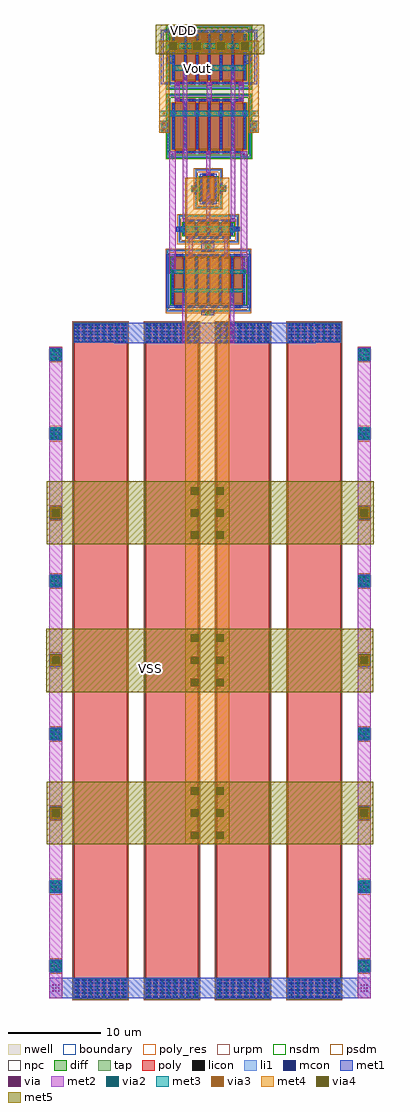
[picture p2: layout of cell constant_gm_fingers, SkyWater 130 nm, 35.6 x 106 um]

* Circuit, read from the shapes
.subckt constant_gm_fingers VDD VSS Vout
XM1 n1 Vout n2 VSS sky130_fd_pr__nfet_01v8 w=5 l=1 m=6
XM2 Vout Vout VSS VSS sky130_fd_pr__nfet_01v8 w=1.25 l=1 m=4
XM3 Vout n2 n2 VSS sky130_fd_pr__nfet_01v8 w=2.5 l=0.5 m=2
XM4 n2 n2 VDD VDD sky130_fd_pr__pfet_01v8 w=5 l=1 m=6
XM5 Vout n2 VDD VDD sky130_fd_pr__pfet_01v8 w=5 l=1 m=6
XR6 n1 VSS VSS sky130_fd_pr__res_xhigh_po w=5.73 l=69.04 m=4
.ends

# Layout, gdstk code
import gdstk
lib = gdstk.Library(unit=1e-6, precision=1e-09)
def R(c, l, rs):  # rectangles x0, y0, x1, y1
    for r in rs: c.add(gdstk.rectangle(r[:2], r[2:], *l))
def A(c, l, x, y, w, h, nx, ny, dx, dy):  # array of equal rectangles
    R(c, l, [(x+i*dx, y+j*dy, x+i*dx+w, y+j*dy+h) for i in range(nx) for j in range(ny)])
nwell = (64, 20)
diff = (65, 20)
tap = (65, 44)
poly_res = (66, 13)
poly = (66, 20)
licon = (66, 44)
li1 = (67, 20)
mcon = (67, 44)
met1 = (68, 20)
via = (68, 44)
met2 = (69, 20)
via2 = (69, 44)
met3 = (70, 20)
via3 = (70, 44)
met4 = (71, 20)
via4 = (71, 44)
met5 = (72, 20)
urpm = (79, 20)
nsdm = (93, 44)
psdm = (94, 20)
npc = (95, 20)
boundary = (235, 4)

sky130_fd_pr__res_xhigh_ = lib.new_cell('sky130_fd_pr__res_xhigh_po_5p73_B5N4SD')
R(sky130_fd_pr__res_xhigh_, poly_res, [(-2.865,-34.58,2.865,34.58)])
R(sky130_fd_pr__res_xhigh_, poly, [(-2.865,-36.66,2.865,36.66)])
A(sky130_fd_pr__res_xhigh_, licon, -2.58, -36.58, 0.19, 2, 8, 2, 0.71, 71.16)
R(sky130_fd_pr__res_xhigh_, li1, [(-2.865,-36.66,2.865,-34.5), (-2.865,34.5,2.865,36.66)])
A(sky130_fd_pr__res_xhigh_, mcon, -2.785, -36.565, 0.17, 0.17, 16, 6, 0.36, 0.36)
A(sky130_fd_pr__res_xhigh_, mcon, -2.785, 34.59, 0.17, 0.17, 16, 6, 0.36, 0.36)
R(sky130_fd_pr__res_xhigh_, met1, [(-2.845,-36.6,2.845,-34.555), (-2.845,34.555,2.845,36.6)])
R(sky130_fd_pr__res_xhigh_, urpm, [(-3.065,-36.86,3.065,36.86)])
R(sky130_fd_pr__res_xhigh_, psdm, [(-2.975,-36.77,2.975,36.77)])
R(sky130_fd_pr__res_xhigh_, npc, [(-2.96,-36.755,2.96,36.755)])

sky130_fd_pr__pfet_01v8_ = lib.new_cell('sky130_fd_pr__pfet_01v8_LK874N')
R(sky130_fd_pr__pfet_01v8_, nwell, [(-4.705,-3.595,4.705,3.595)])
R(sky130_fd_pr__pfet_01v8_, diff, [(-4.015,-2.5,4.015,2.5)])
R(sky130_fd_pr__pfet_01v8_, tap, [(-4.525,-3.415,4.525,-3.245), (-4.525,-3.245,-4.355,3.245), (4.355,-3.245,4.525,3.245), (-4.525,3.245,4.525,3.415)])
A(sky130_fd_pr__pfet_01v8_, poly, -3.725, -2.985, 1, 5.97, 6, 1, 1.29, 0)
A(sky130_fd_pr__pfet_01v8_, licon, -3.995, -3.415, 0.17, 0.17, 24, 2, 0.34, 6.66)
A(sky130_fd_pr__pfet_01v8_, licon, -4.525, -2.805, 0.17, 0.17, 1, 17, 0, 0.34)
A(sky130_fd_pr__pfet_01v8_, licon, 4.355, -2.805, 0.17, 0.17, 1, 17, 0, 0.34)
A(sky130_fd_pr__pfet_01v8_, licon, -3.955, -2.295, 0.17, 0.17, 7, 14, 1.29, 0.34)
R(sky130_fd_pr__pfet_01v8_, licon, [(-3.48,-2.905,-3.31,-2.735), (-3.14,-2.905,-2.97,-2.735), (-2.19,-2.905,-2.02,-2.735), (-1.85,-2.905,-1.68,-2.735), (-0.9,-2.905,-0.73,-2.735), (-0.56,-2.905,-0.39,-2.735), (0.39,-2.905,0.56,-2.735), (0.73,-2.905,0.9,-2.735), (1.68,-2.905,1.85,-2.735), (2.02,-2.905,2.19,-2.735), (2.97,-2.905,3.14,-2.735), (3.31,-2.905,3.48,-2.735), (-3.48,2.735,-3.31,2.905), (-3.14,2.735,-2.97,2.905), (-2.19,2.735,-2.02,2.905), (-1.85,2.735,-1.68,2.905), (-0.9,2.735,-0.73,2.905), (-0.56,2.735,-0.39,2.905), (0.39,2.735,0.56,2.905), (0.73,2.735,0.9,2.905), (1.68,2.735,1.85,2.905), (2.02,2.735,2.19,2.905), (2.97,2.735,3.14,2.905), (3.31,2.735,3.48,2.905)])
A(sky130_fd_pr__pfet_01v8_, li1, -3.725, -2.905, 1, 0.17, 6, 2, 1.29, 5.64)
A(sky130_fd_pr__pfet_01v8_, li1, -3.955, -2.52, 0.17, 5.04, 7, 1, 1.29, 0)
R(sky130_fd_pr__pfet_01v8_, li1, [(-4.525,-3.415,4.525,-3.245), (-4.525,-3.245,-4.355,3.245), (4.355,-3.245,4.525,3.245), (-4.525,3.245,4.525,3.415)])
A(sky130_fd_pr__pfet_01v8_, mcon, -3.955, -2.425, 0.17, 0.17, 7, 14, 1.29, 0.36)
R(sky130_fd_pr__pfet_01v8_, mcon, [(-3.49,-2.905,-3.32,-2.735), (-3.13,-2.905,-2.96,-2.735), (-2.2,-2.905,-2.03,-2.735), (-1.84,-2.905,-1.67,-2.735), (-0.91,-2.905,-0.74,-2.735), (-0.55,-2.905,-0.38,-2.735), (0.38,-2.905,0.55,-2.735), (0.74,-2.905,0.91,-2.735), (1.67,-2.905,1.84,-2.735), (2.03,-2.905,2.2,-2.735), (2.96,-2.905,3.13,-2.735), (3.32,-2.905,3.49,-2.735), (-3.49,2.735,-3.32,2.905), (-3.13,2.735,-2.96,2.905), (-2.2,2.735,-2.03,2.905), (-1.84,2.735,-1.67,2.905), (-0.91,2.735,-0.74,2.905), (-0.55,2.735,-0.38,2.905), (0.38,2.735,0.55,2.905), (0.74,2.735,0.91,2.905), (1.67,2.735,1.84,2.905), (2.03,2.735,2.2,2.905), (2.96,2.735,3.13,2.905), (3.32,2.735,3.49,2.905)])
A(sky130_fd_pr__pfet_01v8_, met1, -3.705, -2.935, 0.96, 0.23, 6, 2, 1.29, 5.64)
A(sky130_fd_pr__pfet_01v8_, met1, -3.985, -2.5, 0.23, 5, 7, 1, 1.29, 0)
R(sky130_fd_pr__pfet_01v8_, nsdm, [(-4.65,-3.54,4.65,-3.12), (-4.65,-3.12,-4.23,3.12), (4.23,-3.12,4.65,3.12), (-4.65,3.12,4.65,3.54)])
R(sky130_fd_pr__pfet_01v8_, psdm, [(-4.14,-2.625,4.14,2.625)])
A(sky130_fd_pr__pfet_01v8_, npc, -3.58, -3.005, 0.71, 0.37, 6, 2, 1.29, 5.64)
R(sky130_fd_pr__pfet_01v8_, boundary, [(-4.44,-3.33,4.44,3.33)])

sky130_fd_pr__nfet_01v8_ = lib.new_cell('sky130_fd_pr__nfet_01v8_H7FLKU')
R(sky130_fd_pr__nfet_01v8_, diff, [(-0.935,-1.25,0.935,1.25)])
R(sky130_fd_pr__nfet_01v8_, tap, [(-1.445,-2.12,1.445,-1.95), (-1.445,-1.95,-1.275,1.95), (1.275,-1.95,1.445,1.95), (-1.445,1.95,1.445,2.12)])
R(sky130_fd_pr__nfet_01v8_, poly, [(-0.645,-1.69,-0.145,1.69), (0.145,-1.69,0.645,1.69)])
A(sky130_fd_pr__nfet_01v8_, licon, -0.935, -2.12, 0.17, 0.17, 6, 2, 0.34, 4.07)
A(sky130_fd_pr__nfet_01v8_, licon, -1.445, -1.615, 0.17, 0.17, 1, 10, 0, 0.34)
A(sky130_fd_pr__nfet_01v8_, licon, 1.275, -1.615, 0.17, 0.17, 1, 10, 0, 0.34)
A(sky130_fd_pr__nfet_01v8_, licon, -0.875, -1.105, 0.17, 0.17, 3, 7, 0.79, 0.34)
R(sky130_fd_pr__nfet_01v8_, licon, [(-0.48,-1.61,-0.31,-1.44), (0.31,-1.61,0.48,-1.44), (-0.48,1.44,-0.31,1.61), (0.31,1.44,0.48,1.61)])
A(sky130_fd_pr__nfet_01v8_, li1, -0.875, -1.27, 0.17, 2.54, 3, 1, 0.79, 0)
R(sky130_fd_pr__nfet_01v8_, li1, [(-1.445,-2.12,1.445,-1.95), (-1.445,-1.95,-1.275,1.95), (1.275,-1.95,1.445,1.95), (-0.645,-1.61,-0.145,-1.44), (0.145,-1.61,0.645,-1.44), (-0.645,1.44,-0.145,1.61), (0.145,1.44,0.645,1.61), (-1.445,1.95,1.445,2.12)])
A(sky130_fd_pr__nfet_01v8_, mcon, -0.875, -1.165, 0.17, 0.17, 3, 7, 0.79, 0.36)
R(sky130_fd_pr__nfet_01v8_, mcon, [(-0.48,-1.61,-0.31,-1.44), (0.31,-1.61,0.48,-1.44), (-0.48,1.44,-0.31,1.61), (0.31,1.44,0.48,1.61)])
A(sky130_fd_pr__nfet_01v8_, met1, -0.905, -1.25, 0.23, 2.5, 3, 1, 0.79, 0)
R(sky130_fd_pr__nfet_01v8_, met1, [(-0.625,-1.64,-0.165,-1.41), (0.165,-1.64,0.625,-1.41), (-0.625,1.41,-0.165,1.64), (0.165,1.41,0.625,1.64)])
R(sky130_fd_pr__nfet_01v8_, nsdm, [(-1.06,-1.375,1.06,1.375)])
R(sky130_fd_pr__nfet_01v8_, psdm, [(-1.57,-2.245,1.57,-1.825), (-1.57,-1.825,-1.15,1.825), (1.15,-1.825,1.57,1.825), (-1.57,1.825,1.57,2.245)])
R(sky130_fd_pr__nfet_01v8_, npc, [(-0.58,-1.71,-0.21,-1.34), (0.21,-1.71,0.58,-1.34), (-0.58,1.34,-0.21,1.71), (0.21,1.34,0.58,1.71)])
R(sky130_fd_pr__nfet_01v8_, boundary, [(-1.36,-2.035,1.36,2.035)])

c_sky130_fd_pr__nfet_01v8_ = lib.new_cell('sky130_fd_pr__nfet_01v8_GLZPWL')
R(c_sky130_fd_pr__nfet_01v8_, diff, [(-4.015,-2.5,4.015,2.5)])
R(c_sky130_fd_pr__nfet_01v8_, tap, [(-4.525,-3.37,4.525,-3.2), (-4.525,-3.2,-4.355,3.2), (4.355,-3.2,4.525,3.2), (-4.525,3.2,4.525,3.37)])
A(c_sky130_fd_pr__nfet_01v8_, poly, -3.725, -2.94, 1, 5.88, 6, 1, 1.29, 0)
A(c_sky130_fd_pr__nfet_01v8_, licon, -3.995, -3.37, 0.17, 0.17, 24, 2, 0.34, 6.57)
A(c_sky130_fd_pr__nfet_01v8_, licon, -4.525, -2.805, 0.17, 0.17, 1, 17, 0, 0.34)
A(c_sky130_fd_pr__nfet_01v8_, licon, 4.355, -2.805, 0.17, 0.17, 1, 17, 0, 0.34)
A(c_sky130_fd_pr__nfet_01v8_, licon, -3.955, -2.295, 0.17, 0.17, 7, 14, 1.29, 0.34)
R(c_sky130_fd_pr__nfet_01v8_, licon, [(-3.48,-2.86,-3.31,-2.69), (-3.14,-2.86,-2.97,-2.69), (-2.19,-2.86,-2.02,-2.69), (-1.85,-2.86,-1.68,-2.69), (-0.9,-2.86,-0.73,-2.69), (-0.56,-2.86,-0.39,-2.69), (0.39,-2.86,0.56,-2.69), (0.73,-2.86,0.9,-2.69), (1.68,-2.86,1.85,-2.69), (2.02,-2.86,2.19,-2.69), (2.97,-2.86,3.14,-2.69), (3.31,-2.86,3.48,-2.69), (-3.48,2.69,-3.31,2.86), (-3.14,2.69,-2.97,2.86), (-2.19,2.69,-2.02,2.86), (-1.85,2.69,-1.68,2.86), (-0.9,2.69,-0.73,2.86), (-0.56,2.69,-0.39,2.86), (0.39,2.69,0.56,2.86), (0.73,2.69,0.9,2.86), (1.68,2.69,1.85,2.86), (2.02,2.69,2.19,2.86), (2.97,2.69,3.14,2.86), (3.31,2.69,3.48,2.86)])
A(c_sky130_fd_pr__nfet_01v8_, li1, -3.725, -2.86, 1, 0.17, 6, 2, 1.29, 5.55)
A(c_sky130_fd_pr__nfet_01v8_, li1, -3.955, -2.52, 0.17, 5.04, 7, 1, 1.29, 0)
R(c_sky130_fd_pr__nfet_01v8_, li1, [(-4.525,-3.37,4.525,-3.2), (-4.525,-3.2,-4.355,3.2), (4.355,-3.2,4.525,3.2), (-4.525,3.2,4.525,3.37)])
A(c_sky130_fd_pr__nfet_01v8_, mcon, -3.955, -2.425, 0.17, 0.17, 7, 14, 1.29, 0.36)
R(c_sky130_fd_pr__nfet_01v8_, mcon, [(-3.49,-2.86,-3.32,-2.69), (-3.13,-2.86,-2.96,-2.69), (-2.2,-2.86,-2.03,-2.69), (-1.84,-2.86,-1.67,-2.69), (-0.91,-2.86,-0.74,-2.69), (-0.55,-2.86,-0.38,-2.69), (0.38,-2.86,0.55,-2.69), (0.74,-2.86,0.91,-2.69), (1.67,-2.86,1.84,-2.69), (2.03,-2.86,2.2,-2.69), (2.96,-2.86,3.13,-2.69), (3.32,-2.86,3.49,-2.69), (-3.49,2.69,-3.32,2.86), (-3.13,2.69,-2.96,2.86), (-2.2,2.69,-2.03,2.86), (-1.84,2.69,-1.67,2.86), (-0.91,2.69,-0.74,2.86), (-0.55,2.69,-0.38,2.86), (0.38,2.69,0.55,2.86), (0.74,2.69,0.91,2.86), (1.67,2.69,1.84,2.86), (2.03,2.69,2.2,2.86), (2.96,2.69,3.13,2.86), (3.32,2.69,3.49,2.86)])
A(c_sky130_fd_pr__nfet_01v8_, met1, -3.705, -2.89, 0.96, 0.23, 6, 2, 1.29, 5.55)
A(c_sky130_fd_pr__nfet_01v8_, met1, -3.985, -2.5, 0.23, 5, 7, 1, 1.29, 0)
R(c_sky130_fd_pr__nfet_01v8_, nsdm, [(-4.14,-2.625,4.14,2.625)])
R(c_sky130_fd_pr__nfet_01v8_, psdm, [(-4.65,-3.495,4.65,-3.075), (-4.65,-3.075,-4.23,3.075), (4.23,-3.075,4.65,3.075), (-4.65,3.075,4.65,3.495)])
A(c_sky130_fd_pr__nfet_01v8_, npc, -3.58, -2.96, 0.71, 0.37, 6, 2, 1.29, 5.55)
R(c_sky130_fd_pr__nfet_01v8_, boundary, [(-4.44,-3.285,4.44,3.285)])

c_sky130_fd_pr__nfet_01v8__ = lib.new_cell('sky130_fd_pr__nfet_01v8_A5635U')
R(c_sky130_fd_pr__nfet_01v8__, diff, [(-2.725,-0.625,2.725,0.625)])
R(c_sky130_fd_pr__nfet_01v8__, tap, [(-3.235,-1.495,3.235,-1.325), (-3.235,-1.325,-3.065,1.325), (3.065,-1.325,3.235,1.325), (-3.235,1.325,3.235,1.495)])
A(c_sky130_fd_pr__nfet_01v8__, poly, -2.435, -1.065, 1, 2.13, 4, 1, 1.29, 0)
A(c_sky130_fd_pr__nfet_01v8__, licon, -2.635, -1.495, 0.17, 0.17, 16, 2, 0.34, 2.82)
A(c_sky130_fd_pr__nfet_01v8__, licon, -3.235, -0.935, 0.17, 0.17, 1, 6, 0, 0.34)
A(c_sky130_fd_pr__nfet_01v8__, licon, 3.065, -0.935, 0.17, 0.17, 1, 6, 0, 0.34)
A(c_sky130_fd_pr__nfet_01v8__, licon, -2.665, -0.425, 0.17, 0.17, 5, 3, 1.29, 0.34)
R(c_sky130_fd_pr__nfet_01v8__, licon, [(-2.19,-0.985,-2.02,-0.815), (-1.85,-0.985,-1.68,-0.815), (-0.9,-0.985,-0.73,-0.815), (-0.56,-0.985,-0.39,-0.815), (0.39,-0.985,0.56,-0.815), (0.73,-0.985,0.9,-0.815), (1.68,-0.985,1.85,-0.815), (2.02,-0.985,2.19,-0.815), (-2.19,0.815,-2.02,0.985), (-1.85,0.815,-1.68,0.985), (-0.9,0.815,-0.73,0.985), (-0.56,0.815,-0.39,0.985), (0.39,0.815,0.56,0.985), (0.73,0.815,0.9,0.985), (1.68,0.815,1.85,0.985), (2.02,0.815,2.19,0.985)])
A(c_sky130_fd_pr__nfet_01v8__, li1, -2.435, -0.985, 1, 0.17, 4, 2, 1.29, 1.8)
A(c_sky130_fd_pr__nfet_01v8__, li1, -2.665, -0.645, 0.17, 1.29, 5, 1, 1.29, 0)
R(c_sky130_fd_pr__nfet_01v8__, li1, [(-3.235,-1.495,3.235,-1.325), (-3.235,-1.325,-3.065,1.325), (3.065,-1.325,3.235,1.325), (-3.235,1.325,3.235,1.495)])
A(c_sky130_fd_pr__nfet_01v8__, mcon, -2.665, -0.445, 0.17, 0.17, 5, 3, 1.29, 0.36)
R(c_sky130_fd_pr__nfet_01v8__, mcon, [(-2.2,-0.985,-2.03,-0.815), (-1.84,-0.985,-1.67,-0.815), (-0.91,-0.985,-0.74,-0.815), (-0.55,-0.985,-0.38,-0.815), (0.38,-0.985,0.55,-0.815), (0.74,-0.985,0.91,-0.815), (1.67,-0.985,1.84,-0.815), (2.03,-0.985,2.2,-0.815), (-2.2,0.815,-2.03,0.985), (-1.84,0.815,-1.67,0.985), (-0.91,0.815,-0.74,0.985), (-0.55,0.815,-0.38,0.985), (0.38,0.815,0.55,0.985), (0.74,0.815,0.91,0.985), (1.67,0.815,1.84,0.985), (2.03,0.815,2.2,0.985)])
A(c_sky130_fd_pr__nfet_01v8__, met1, -2.415, -1.015, 0.96, 0.23, 4, 2, 1.29, 1.8)
A(c_sky130_fd_pr__nfet_01v8__, met1, -2.695, -0.625, 0.23, 1.25, 5, 1, 1.29, 0)
R(c_sky130_fd_pr__nfet_01v8__, nsdm, [(-2.85,-0.75,2.85,0.75)])
R(c_sky130_fd_pr__nfet_01v8__, psdm, [(-3.36,-1.62,3.36,-1.2), (-3.36,-1.2,-2.94,1.2), (2.94,-1.2,3.36,1.2), (-3.36,1.2,3.36,1.62)])
A(c_sky130_fd_pr__nfet_01v8__, npc, -2.29, -1.085, 0.71, 0.37, 4, 2, 1.29, 1.8)
R(c_sky130_fd_pr__nfet_01v8__, boundary, [(-3.15,-1.41,3.15,1.41)])

constant_gm_fingers = lib.new_cell('constant_gm_fingers')
R(constant_gm_fingers, nwell, [(-0.5,-9,8.95,5.7)])
A(constant_gm_fingers, tap, -13.05, -48.12, 1.2, 1.44, 1, 3, 0, 8.6)
A(constant_gm_fingers, tap, 20.45, -48.12, 1.2, 1.44, 1, 3, 0, 8.6)
R(constant_gm_fingers, tap, [(-13.05,-97.32,-11.85,-95.88), (20.45,-97.32,21.65,-95.88), (-13.05,-88.72,-11.85,-87.28), (20.45,-88.72,21.65,-87.28), (-13.05,-80.72,-11.85,-79.28), (20.45,-80.72,21.65,-79.28), (-13.05,-72.12,-11.85,-70.68), (20.45,-72.12,21.65,-70.68), (-13.05,-64.12,-11.85,-62.68), (20.45,-64.12,21.65,-62.68), (-13.05,-55.52,-11.85,-54.08), (20.45,-55.52,21.65,-54.08)])
A(constant_gm_fingers, licon, -13.045, -97.195, 0.17, 0.17, 4, 4, 0.34, 0.34)
A(constant_gm_fingers, licon, 20.455, -97.195, 0.17, 0.17, 4, 4, 0.34, 0.34)
A(constant_gm_fingers, licon, -13.045, -88.595, 0.17, 0.17, 4, 4, 0.34, 0.34)
A(constant_gm_fingers, licon, 20.455, -88.595, 0.17, 0.17, 4, 4, 0.34, 0.34)
A(constant_gm_fingers, licon, -13.045, -80.595, 0.17, 0.17, 4, 4, 0.34, 0.34)
A(constant_gm_fingers, licon, 20.455, -80.595, 0.17, 0.17, 4, 4, 0.34, 0.34)
A(constant_gm_fingers, licon, -13.045, -71.995, 0.17, 0.17, 4, 4, 0.34, 0.34)
A(constant_gm_fingers, licon, 20.455, -71.995, 0.17, 0.17, 4, 4, 0.34, 0.34)
A(constant_gm_fingers, licon, -13.045, -63.995, 0.17, 0.17, 4, 4, 0.34, 0.34)
A(constant_gm_fingers, licon, 20.455, -63.995, 0.17, 0.17, 4, 4, 0.34, 0.34)
A(constant_gm_fingers, licon, -13.045, -55.395, 0.17, 0.17, 4, 4, 0.34, 0.34)
A(constant_gm_fingers, licon, 20.455, -55.395, 0.17, 0.17, 4, 4, 0.34, 0.34)
A(constant_gm_fingers, licon, -13.045, -47.995, 0.17, 0.17, 4, 4, 0.34, 0.34)
A(constant_gm_fingers, licon, 20.455, -47.995, 0.17, 0.17, 4, 4, 0.34, 0.34)
A(constant_gm_fingers, licon, -13.045, -39.395, 0.17, 0.17, 4, 4, 0.34, 0.34)
A(constant_gm_fingers, licon, 20.455, -39.395, 0.17, 0.17, 4, 4, 0.34, 0.34)
A(constant_gm_fingers, licon, -13.045, -30.795, 0.17, 0.17, 4, 4, 0.34, 0.34)
A(constant_gm_fingers, licon, 20.455, -30.795, 0.17, 0.17, 4, 4, 0.34, 0.34)
A(constant_gm_fingers, li1, -13.05, -48.08, 1.2, 1.36, 1, 3, 0, 8.6)
A(constant_gm_fingers, li1, 20.45, -48.08, 1.2, 1.36, 1, 3, 0, 8.6)
R(constant_gm_fingers, li1, [(-13.05,-97.28,-11.85,-95.92), (20.45,-97.28,21.65,-95.92), (-13.05,-88.68,-11.85,-87.32), (20.45,-88.68,21.65,-87.32), (-13.05,-80.68,-11.85,-79.32), (20.45,-80.68,21.65,-79.32), (-13.05,-72.08,-11.85,-70.72), (20.45,-72.08,21.65,-70.72), (-13.05,-64.08,-11.85,-62.72), (20.45,-64.08,21.65,-62.72), (-13.05,-55.48,-11.85,-54.12), (20.45,-55.48,21.65,-54.12), (3.45,-25.6,4.65,-25.4), (3.45,-19,4.65,-18.8), (3.45,-18.1,4.65,-17.9), (0.75,-16.8,1.2,-16.35), (7.05,-16.75,7.45,-16.35), (2.65,-12.75,2.85,-11.6), (5.4,-12.75,5.6,-11.6), (-0.35,-6.05,-0.15,-4.9), (8.55,-6.05,8.75,-4.9), (-0.35,1.5,-0.15,2.65), (8.55,1.5,8.75,2.65)])
A(constant_gm_fingers, mcon, -12.895, -97.045, 0.17, 0.17, 3, 3, 0.36, 0.36)
A(constant_gm_fingers, mcon, 20.605, -97.045, 0.17, 0.17, 3, 3, 0.36, 0.36)
A(constant_gm_fingers, mcon, -12.895, -88.445, 0.17, 0.17, 3, 3, 0.36, 0.36)
A(constant_gm_fingers, mcon, 20.605, -88.445, 0.17, 0.17, 3, 3, 0.36, 0.36)
A(constant_gm_fingers, mcon, -12.895, -80.445, 0.17, 0.17, 3, 3, 0.36, 0.36)
A(constant_gm_fingers, mcon, 20.605, -80.445, 0.17, 0.17, 3, 3, 0.36, 0.36)
A(constant_gm_fingers, mcon, -12.895, -71.845, 0.17, 0.17, 3, 3, 0.36, 0.36)
A(constant_gm_fingers, mcon, 20.605, -71.845, 0.17, 0.17, 3, 3, 0.36, 0.36)
A(constant_gm_fingers, mcon, -12.895, -63.845, 0.17, 0.17, 3, 3, 0.36, 0.36)
A(constant_gm_fingers, mcon, 20.605, -63.845, 0.17, 0.17, 3, 3, 0.36, 0.36)
A(constant_gm_fingers, mcon, -12.895, -55.245, 0.17, 0.17, 3, 3, 0.36, 0.36)
A(constant_gm_fingers, mcon, 20.605, -55.245, 0.17, 0.17, 3, 3, 0.36, 0.36)
A(constant_gm_fingers, mcon, -12.895, -47.845, 0.17, 0.17, 3, 3, 0.36, 0.36)
A(constant_gm_fingers, mcon, 20.605, -47.845, 0.17, 0.17, 3, 3, 0.36, 0.36)
A(constant_gm_fingers, mcon, -12.895, -39.245, 0.17, 0.17, 3, 3, 0.36, 0.36)
A(constant_gm_fingers, mcon, 20.605, -39.245, 0.17, 0.17, 3, 3, 0.36, 0.36)
A(constant_gm_fingers, mcon, -12.895, -30.645, 0.17, 0.17, 3, 3, 0.36, 0.36)
A(constant_gm_fingers, mcon, 20.605, -30.645, 0.17, 0.17, 3, 3, 0.36, 0.36)
A(constant_gm_fingers, mcon, 3.605, -25.585, 0.17, 0.17, 3, 2, 0.36, 6.6)
A(constant_gm_fingers, mcon, 3.605, -18.085, 0.17, 0.17, 3, 1, 0.36, 0)
A(constant_gm_fingers, mcon, 2.665, -12.62, 0.17, 0.17, 1, 3, 0, 0.36)
A(constant_gm_fingers, mcon, 5.415, -12.62, 0.17, 0.17, 1, 3, 0, 0.36)
A(constant_gm_fingers, mcon, -0.335, -5.92, 0.17, 0.17, 1, 3, 0, 0.36)
A(constant_gm_fingers, mcon, 8.565, -5.92, 0.17, 0.17, 1, 3, 0, 0.36)
A(constant_gm_fingers, mcon, -0.335, 1.63, 0.17, 0.17, 1, 3, 0, 0.36)
A(constant_gm_fingers, mcon, 8.565, 1.63, 0.17, 0.17, 1, 3, 0, 0.36)
R(constant_gm_fingers, mcon, [(0.89,-16.66,1.06,-16.49), (7.165,-16.635,7.335,-16.465)])
A(constant_gm_fingers, met1, -13.11, -48.03, 1.32, 1.26, 1, 3, 0, 8.6)
A(constant_gm_fingers, met1, 20.39, -48.03, 1.32, 1.26, 1, 3, 0, 8.6)
A(constant_gm_fingers, met1, 2.65, -4.2, 0.5, 0.4, 3, 2, 2.6, 7.3)
A(constant_gm_fingers, met1, 1.35, 0.7, 0.5, 0.4, 3, 1, 2.6, 0)
R(constant_gm_fingers, met1, [(-13.15,-100.1,21.75,-97.9), (-13.11,-97.23,-11.79,-95.97), (20.39,-97.23,21.71,-95.97), (-13.11,-88.63,-11.79,-87.37), (20.39,-88.63,21.71,-87.37), (-13.11,-80.63,-11.79,-79.37), (20.39,-80.63,21.71,-79.37), (-13.11,-72.03,-11.79,-70.77), (20.39,-72.03,21.71,-70.77), (-13.11,-64.03,-11.79,-62.77), (20.39,-64.03,21.71,-62.77), (-13.11,-55.43,-11.79,-54.17), (20.39,-55.43,21.71,-54.17), (-6.1,-28.95,15.75,-26.75), (3.35,-25.95,4.75,-25.35), (-0.45,-25.1,8.7,-24.85), (-0.45,-24.85,-0.15,-19.55), (8.4,-24.85,8.7,-19.55), (1.35,-23.4,1.75,-23.1), (3.95,-23.4,4.35,-23.1), (6.5,-23.4,6.9,-23.1), (0.05,-21.35,0.45,-21.05), (2.65,-21.35,3.05,-21.05), (5.2,-21.35,5.6,-21.05), (7.8,-21.35,8.2,-21.05), (-0.45,-19.55,8.7,-19.3), (2,-19.3,2.4,-19.2), (5.85,-19.3,6.25,-19.2), (3.35,-19.05,4.75,-17.85), (2,-17.7,2.4,-17.6), (5.85,-17.7,6.25,-17.6), (1.65,-17.6,6.55,-17.35), (2.7,-17.35,2.95,-17.15), (5.3,-17.35,5.55,-17.15), (0.65,-16.85,1.8,-16.3), (3.85,-16.8,4.4,-16.35), (6.4,-16.8,7.55,-16.35), (6.6,-16.35,7.55,-16.3), (2.7,-16,2.95,-15.8), (5.3,-15.95,5.55,-15.8), (1.35,-15.8,7.05,-15.55), (1.35,-15.55,1.85,-15.35), (3.9,-15.55,4.35,-15.35), (6.55,-15.55,7.05,-15.35), (3.2,-13.85,5.05,-13.6), (3.2,-13.6,3.45,-13.4), (4.8,-13.6,5.05,-13.4), (3.9,-13.05,4.35,-12.7), (2.62,-12.81,2.88,-12.5), (5.37,-12.81,5.63,-12.45), (2.25,-12.5,2.95,-11.9), (5.35,-12.45,6.05,-11.85), (2.62,-11.9,2.88,-11.54), (5.37,-11.85,5.63,-11.54), (3.2,-11.75,3.45,-10.8), (4.8,-11.75,5.05,-10.8), (3.2,-10.8,5.05,-10.55), (3.9,-10.55,4.35,-10.35), (-0.1,-8.7,0.6,-8.35), (7.65,-8.7,8.35,-8.35), (3.9,-8.5,4.35,-8.35), (-0.1,-8.35,8.35,-8.1), (1.5,-8.1,1.75,-7.3), (4.1,-8.1,4.35,-7.25), (6.65,-8.1,6.9,-7.3), (-0.38,-6.11,-0.12,-6.1), (8.52,-6.11,8.78,-6.1), (-1.2,-6.1,-0.1,-4.8), (8.5,-6.1,9.6,-4.8), (0.1,-4.2,0.6,-3.8), (1.5,-3.5,1.75,-2.7), (4.1,-3.5,4.35,-2.7), (6.65,-3.5,6.9,-2.7), (0.45,-2.7,7.95,-2.45), (0.5,-2.45,0.95,-2.3), (4,-2.45,4.45,-2.3), (7.45,-2.45,7.9,-2.3), (0.5,-1,0.95,-0.85), (4,-1,4.45,-0.85), (7.45,-1,7.9,-0.85), (-1.05,-0.85,9.45,-0.6), (-1.05,-0.6,-0.7,4.8), (9.1,-0.6,9.45,4.8), (-0.4,1.4,0.45,2.75), (7.95,1.4,8.8,2.75), (0.1,3.1,0.6,3.5), (-1.05,4.8,9.45,5.05)])
A(constant_gm_fingers, via, -12.845, -99.395, 0.15, 0.15, 3, 3, 0.32, 0.32)
A(constant_gm_fingers, via, 20.655, -99.395, 0.15, 0.15, 3, 3, 0.32, 0.32)
A(constant_gm_fingers, via, -12.845, -96.995, 0.15, 0.15, 3, 3, 0.32, 0.32)
A(constant_gm_fingers, via, 20.655, -96.995, 0.15, 0.15, 3, 3, 0.32, 0.32)
A(constant_gm_fingers, via, -12.845, -88.395, 0.15, 0.15, 3, 3, 0.32, 0.32)
A(constant_gm_fingers, via, 20.655, -88.395, 0.15, 0.15, 3, 3, 0.32, 0.32)
A(constant_gm_fingers, via, -12.845, -80.395, 0.15, 0.15, 3, 3, 0.32, 0.32)
A(constant_gm_fingers, via, 20.655, -80.395, 0.15, 0.15, 3, 3, 0.32, 0.32)
A(constant_gm_fingers, via, -12.845, -71.795, 0.15, 0.15, 3, 3, 0.32, 0.32)
A(constant_gm_fingers, via, 20.655, -71.795, 0.15, 0.15, 3, 3, 0.32, 0.32)
A(constant_gm_fingers, via, -12.845, -63.795, 0.15, 0.15, 3, 3, 0.32, 0.32)
A(constant_gm_fingers, via, 20.655, -63.795, 0.15, 0.15, 3, 3, 0.32, 0.32)
A(constant_gm_fingers, via, -12.845, -55.195, 0.15, 0.15, 3, 3, 0.32, 0.32)
A(constant_gm_fingers, via, 20.655, -55.195, 0.15, 0.15, 3, 3, 0.32, 0.32)
A(constant_gm_fingers, via, -12.845, -47.795, 0.15, 0.15, 3, 3, 0.32, 0.32)
A(constant_gm_fingers, via, 20.655, -47.795, 0.15, 0.15, 3, 3, 0.32, 0.32)
A(constant_gm_fingers, via, -12.845, -39.195, 0.15, 0.15, 3, 3, 0.32, 0.32)
A(constant_gm_fingers, via, 20.655, -39.195, 0.15, 0.15, 3, 3, 0.32, 0.32)
A(constant_gm_fingers, via, -12.845, -30.595, 0.15, 0.15, 3, 3, 0.32, 0.32)
A(constant_gm_fingers, via, 20.655, -30.595, 0.15, 0.15, 3, 3, 0.32, 0.32)
A(constant_gm_fingers, via, 1.475, -28.775, 0.15, 0.15, 1, 3, 0, 0.85)
A(constant_gm_fingers, via, 6.625, -28.775, 0.15, 0.15, 1, 3, 0, 0.85)
A(constant_gm_fingers, via, 2.825, -4.075, 0.15, 0.15, 3, 2, 2.6, 7.3)
A(constant_gm_fingers, via, 1.525, 0.825, 0.15, 0.15, 3, 1, 2.6, 0)
R(constant_gm_fingers, via, [(4,-25.75,4.15,-25.6), (1.475,-23.325,1.625,-23.175), (4.075,-23.325,4.225,-23.175), (6.625,-23.325,6.775,-23.175), (0.175,-21.275,0.325,-21.125), (2.775,-21.275,2.925,-21.125), (5.325,-21.275,5.475,-21.125), (7.925,-21.275,8.075,-21.125), (2.125,-19.425,2.275,-19.275), (5.975,-19.425,6.125,-19.275), (4,-18.55,4.15,-18.4), (2.125,-17.625,2.275,-17.475), (5.975,-17.625,6.125,-17.475), (1.45,-16.65,1.6,-16.5), (4.05,-16.65,4.2,-16.5), (6.6,-16.65,6.75,-16.5), (1.525,-15.625,1.675,-15.475), (6.725,-15.625,6.875,-15.475), (4.05,-15.6,4.2,-15.45), (4.05,-12.95,4.2,-12.8), (2.365,-12.435,2.515,-12.285), (2.685,-12.435,2.835,-12.285), (5.465,-12.385,5.615,-12.235), (5.785,-12.385,5.935,-12.235), (2.365,-12.115,2.515,-11.965), (2.685,-12.115,2.835,-11.965), (5.465,-12.065,5.615,-11.915), (5.785,-12.065,5.935,-11.915), (4.05,-10.6,4.2,-10.45), (0.175,-8.475,0.325,-8.325), (7.925,-8.475,8.075,-8.325), (4.05,-8.4,4.2,-8.25), (-0.775,-5.875,-0.625,-5.725), (9.025,-5.875,9.175,-5.725), (-0.775,-5.175,-0.625,-5.025), (9.025,-5.175,9.175,-5.025), (0.275,-4.075,0.425,-3.925), (0.65,-2.55,0.8,-2.4), (4.15,-2.55,4.3,-2.4), (7.6,-2.55,7.75,-2.4), (0.65,-0.9,0.8,-0.75), (4.15,-0.9,4.3,-0.75), (7.6,-0.9,7.75,-0.75), (0.275,3.225,0.425,3.375)])
A(constant_gm_fingers, met2, 2.7, -4.25, 0.4, 0.5, 3, 2, 2.6, 7.3)
R(constant_gm_fingers, met2, [(-13.15,-100.1,-11.75,-29.4), (20.35,-100.1,21.75,-29.4), (1.3,-28.95,1.8,-23.05), (6.45,-28.95,6.95,-23.05), (3.85,-25.95,4.3,-25.4), (4,-23.45,4.3,-23.05), (-0.1,-21.4,0.6,-8.1), (2.7,-21.4,3,-21), (5.25,-21.4,5.55,-21), (7.65,-21.4,8.35,-8.1), (2,-19.55,2.4,-17.35), (5.85,-19.55,6.25,-17.35), (3.85,-18.75,4.3,-18.2), (1.3,-16.85,1.75,-16.3), (3.9,-16.85,4.35,-16.3), (6.45,-16.85,6.9,-16.3), (1.35,-15.8,1.85,1.15), (6.55,-15.8,7.05,1.15), (3.95,-15.75,4.3,-15.55), (3.9,-15.55,4.35,-12.65), (2.3,-12.55,2.9,-11.85), (5.4,-12.5,6,-11.8), (3.9,-10.75,4.35,-8.1), (-0.9,-6.05,-0.5,-5.55), (8.9,-6.05,9.3,-5.55), (-0.9,-5.35,-0.5,-4.85), (8.9,-5.35,9.3,-4.85), (0.15,-4.25,0.55,-3.75), (0.45,-2.7,1,-0.6), (3.95,-2.7,4.5,-0.6), (7.4,-2.7,7.95,-0.6), (4,0.65,4.4,1.15), (0.15,3.05,0.55,3.55)])
A(constant_gm_fingers, via2, -12.95, -97.1, 0.2, 0.2, 3, 3, 0.4, 0.4)
A(constant_gm_fingers, via2, 20.55, -97.1, 0.2, 0.2, 3, 3, 0.4, 0.4)
A(constant_gm_fingers, via2, -12.95, -88.5, 0.2, 0.2, 3, 3, 0.4, 0.4)
A(constant_gm_fingers, via2, 20.55, -88.5, 0.2, 0.2, 3, 3, 0.4, 0.4)
A(constant_gm_fingers, via2, -12.95, -80.5, 0.2, 0.2, 3, 3, 0.4, 0.4)
A(constant_gm_fingers, via2, 20.55, -80.5, 0.2, 0.2, 3, 3, 0.4, 0.4)
A(constant_gm_fingers, via2, -12.95, -71.9, 0.2, 0.2, 3, 3, 0.4, 0.4)
A(constant_gm_fingers, via2, 20.55, -71.9, 0.2, 0.2, 3, 3, 0.4, 0.4)
A(constant_gm_fingers, via2, -12.95, -63.9, 0.2, 0.2, 3, 3, 0.4, 0.4)
A(constant_gm_fingers, via2, 20.55, -63.9, 0.2, 0.2, 3, 3, 0.4, 0.4)
A(constant_gm_fingers, via2, -12.95, -55.3, 0.2, 0.2, 3, 3, 0.4, 0.4)
A(constant_gm_fingers, via2, 20.55, -55.3, 0.2, 0.2, 3, 3, 0.4, 0.4)
A(constant_gm_fingers, via2, -12.95, -47.9, 0.2, 0.2, 3, 3, 0.4, 0.4)
A(constant_gm_fingers, via2, 20.55, -47.9, 0.2, 0.2, 3, 3, 0.4, 0.4)
A(constant_gm_fingers, via2, -12.95, -39.3, 0.2, 0.2, 3, 3, 0.4, 0.4)
A(constant_gm_fingers, via2, 20.55, -39.3, 0.2, 0.2, 3, 3, 0.4, 0.4)
A(constant_gm_fingers, via2, -12.95, -30.7, 0.2, 0.2, 3, 3, 0.4, 0.4)
A(constant_gm_fingers, via2, 20.55, -30.7, 0.2, 0.2, 3, 3, 0.4, 0.4)
A(constant_gm_fingers, via2, 2.8, -4.1, 0.2, 0.2, 3, 2, 2.6, 7.3)
A(constant_gm_fingers, via2, 1.5, 0.8, 0.2, 0.2, 3, 1, 2.6, 0)
R(constant_gm_fingers, via2, [(3.975,-25.775,4.175,-25.575), (1.45,-23.35,1.65,-23.15), (4.05,-23.35,4.25,-23.15), (6.6,-23.35,6.8,-23.15), (0.15,-21.3,0.35,-21.1), (2.75,-21.3,2.95,-21.1), (5.3,-21.3,5.5,-21.1), (7.9,-21.3,8.1,-21.1), (3.975,-18.575,4.175,-18.375), (1.425,-16.675,1.625,-16.475), (4.025,-16.675,4.225,-16.475), (6.575,-16.675,6.775,-16.475), (2.5,-12.3,2.7,-12.1), (5.6,-12.25,5.8,-12.05), (-0.8,-5.9,-0.6,-5.7), (9,-5.9,9.2,-5.7), (-0.8,-5.2,-0.6,-5), (9,-5.2,9.2,-5), (0.25,-4.1,0.45,-3.9), (0.25,3.2,0.45,3.4)])
A(constant_gm_fingers, met3, -13.1, -48.025, 1.3, 1.25, 1, 3, 0, 8.6)
A(constant_gm_fingers, met3, 20.4, -48.025, 1.3, 1.25, 1, 3, 0, 8.6)
R(constant_gm_fingers, met3, [(-13.1,-97.225,-11.8,-95.975), (20.4,-97.225,21.7,-95.975), (-13.1,-88.625,-11.8,-87.375), (20.4,-88.625,21.7,-87.375), (-13.1,-80.625,-11.8,-79.375), (20.4,-80.625,21.7,-79.375), (-13.1,-72.025,-11.8,-70.775), (20.4,-72.025,21.7,-70.775), (-13.1,-64.025,-11.8,-62.775), (20.4,-64.025,21.7,-62.775), (-13.1,-55.425,-11.8,-54.175), (20.4,-55.425,21.7,-54.175), (3.8,-25.925,4.35,-25.425), (0.15,-23.45,8.1,-23.05), (0.05,-21.4,8.2,-21), (3.8,-18.725,4.35,-18.225), (1.2,-16.9,7,-16.25), (2.25,-12.525,2.95,-11.875), (5.35,-12.475,6.05,-11.825), (-1,-6.1,-0.4,-4.8), (8.8,-6.1,9.4,-4.8), (-1.2,-4.3,9.6,-3.7), (0.2,0.6,8.2,1.2), (-0.05,3,8.35,3.6)])
A(constant_gm_fingers, via3, -12.95, -80.5, 0.2, 0.2, 3, 3, 0.4, 0.4)
A(constant_gm_fingers, via3, 20.55, -80.5, 0.2, 0.2, 3, 3, 0.4, 0.4)
A(constant_gm_fingers, via3, -12.95, -63.9, 0.2, 0.2, 3, 3, 0.4, 0.4)
A(constant_gm_fingers, via3, 20.55, -63.9, 0.2, 0.2, 3, 3, 0.4, 0.4)
A(constant_gm_fingers, via3, -12.95, -47.9, 0.2, 0.2, 3, 3, 0.4, 0.4)
A(constant_gm_fingers, via3, 20.55, -47.9, 0.2, 0.2, 3, 3, 0.4, 0.4)
A(constant_gm_fingers, via3, 0.2, 3.2, 0.2, 0.2, 4, 1, 2.6, 0)
R(constant_gm_fingers, via3, [(3.975,-25.775,4.175,-25.575), (3.975,-18.575,4.175,-18.375), (4.025,-16.675,4.225,-16.475), (2.5,-12.3,2.7,-12.1), (5.6,-12.25,5.8,-12.05), (-0.8,-5.9,-0.6,-5.7), (9,-5.9,9.2,-5.7), (-0.8,-5.2,-0.6,-5), (9,-5.2,9.2,-5), (-0.8,-4.1,-0.6,-3.9), (9,-4.1,9.2,-3.9)])
R(constant_gm_fingers, met4, [(1.6,-83.4,6.4,-11), (-13.055,-80.605,-11.845,-79.395), (20.445,-80.605,21.655,-79.395), (-13.055,-64.005,-11.845,-62.795), (20.445,-64.005,21.655,-62.795), (-13.055,-48.005,-11.845,-46.795), (20.445,-48.005,21.655,-46.795), (-1.2,-6.1,-0.1,2.7), (8.5,-6.1,9.6,2.7), (-1.2,2.7,0.9,3.9), (2.3,2.7,3.5,3.9), (4.9,2.7,6.1,3.9), (7.5,2.7,9.6,3.9)])
A(constant_gm_fingers, via4, 2.2, -82.8, 0.8, 0.8, 1, 3, 0, 2.4)
A(constant_gm_fingers, via4, 5, -82.8, 0.8, 0.8, 1, 3, 0, 2.4)
A(constant_gm_fingers, via4, 2.2, -66.2, 0.8, 0.8, 1, 3, 0, 2.4)
A(constant_gm_fingers, via4, 5, -66.2, 0.8, 0.8, 1, 3, 0, 2.4)
A(constant_gm_fingers, via4, 2.2, -50.2, 0.8, 0.8, 1, 3, 0, 2.4)
A(constant_gm_fingers, via4, 5, -50.2, 0.8, 0.8, 1, 3, 0, 2.4)
A(constant_gm_fingers, via4, -0.1, 2.9, 0.8, 0.8, 4, 1, 2.6, 0)
R(constant_gm_fingers, via4, [(-12.85,-80.4,-12.05,-79.6), (20.65,-80.4,21.45,-79.6), (-12.85,-63.8,-12.05,-63), (20.65,-63.8,21.45,-63), (-12.85,-47.8,-12.05,-47), (20.65,-47.8,21.45,-47)])
R(constant_gm_fingers, met5, [(-13.45,-83.4,22.05,-76.6), (-13.5,-66.85,22.05,-60), (-13.45,-50.8,22.1,-43.95), (-1.6,2.4,10.2,5.6)])
A(constant_gm_fingers, psdm, -13.175, -48.245, 1.45, 1.69, 1, 3, 0, 8.6)
A(constant_gm_fingers, psdm, 20.325, -48.245, 1.45, 1.69, 1, 3, 0, 8.6)
R(constant_gm_fingers, psdm, [(-13.175,-97.445,-11.725,-95.755), (20.325,-97.445,21.775,-95.755), (-13.175,-88.845,-11.725,-87.155), (20.325,-88.845,21.775,-87.155), (-13.175,-80.845,-11.725,-79.155), (20.325,-80.845,21.775,-79.155), (-13.175,-72.245,-11.725,-70.555), (20.325,-72.245,21.775,-70.555), (-13.175,-64.245,-11.725,-62.555), (20.325,-64.245,21.775,-62.555), (-13.175,-55.645,-11.725,-53.955), (20.325,-55.645,21.775,-53.955)])
constant_gm_fingers.add(gdstk.Reference(sky130_fd_pr__res_xhigh_, (15.625,-63.44)))
constant_gm_fingers.add(gdstk.Reference(sky130_fd_pr__res_xhigh_, (-7.575,-63.44)))
constant_gm_fingers.add(gdstk.Reference(sky130_fd_pr__res_xhigh_, (0.175,-63.44)))
constant_gm_fingers.add(gdstk.Reference(sky130_fd_pr__res_xhigh_, (7.875,-63.44)))
constant_gm_fingers.add(gdstk.Reference(sky130_fd_pr__pfet_01v8_, (4.205,-5.405)))
constant_gm_fingers.add(gdstk.Reference(sky130_fd_pr__pfet_01v8_, (4.205,2.095)))
constant_gm_fingers.add(gdstk.Reference(sky130_fd_pr__nfet_01v8_, (4.125,-12.2)))
constant_gm_fingers.add(gdstk.Reference(c_sky130_fd_pr__nfet_01v8_, (4.13,-22.2)))
constant_gm_fingers.add(gdstk.Reference(c_sky130_fd_pr__nfet_01v8__, (4.115,-16.575)))
constant_gm_fingers.add(gdstk.Label('VSS', (-2.19,-64.3), layer=72, texttype=5))
constant_gm_fingers.add(gdstk.Label('Vout', (2.91,0.92), layer=70, texttype=5))
constant_gm_fingers.add(gdstk.Label('VDD', (1.45,5), layer=72, texttype=5))

lib.write_gds('constant_gm_fingers.gds')
